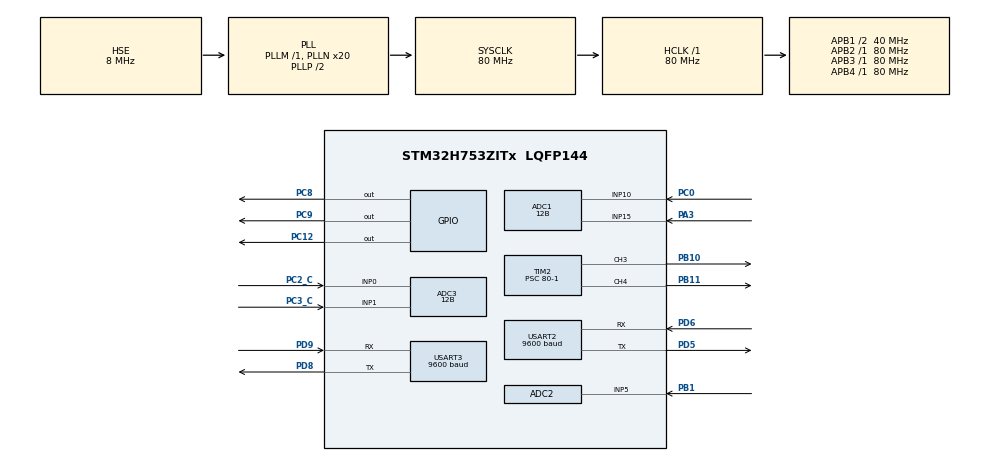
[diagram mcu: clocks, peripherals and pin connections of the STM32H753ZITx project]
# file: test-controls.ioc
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ADC1.Channel-5\#ChannelRegularConversion=ADC_CHANNEL_15
ADC1.Channel-6\#ChannelRegularConversion=ADC_CHANNEL_10
ADC1.DiscontinuousConvMode=ENABLE
ADC1.NbrOfConversion=2
ADC1.NbrOfConversionFlag=1
ADC1.OffsetNumber-5\#ChannelRegularConversion=ADC_OFFSET_NONE
ADC1.OffsetNumber-6\#ChannelRegularConversion=ADC_OFFSET_NONE
ADC1.OffsetSignedSaturation-5\#ChannelRegularConversion=DISABLE
ADC1.Rank-5\#ChannelRegularConversion=1
ADC1.Rank-6\#ChannelRegularConversion=2
ADC1.Resolution=ADC_RESOLUTION_12B
ADC1.SamplingTime-5\#ChannelRegularConversion=ADC_SAMPLETIME_810CYCLES_5
ADC1.SamplingTime-6\#ChannelRegularConversion=ADC_SAMPLETIME_810CYCLES_5
ADC1.master=1
ADC2.Channel-0\#ChannelRegularConversion=ADC_CHANNEL_5
ADC2.NbrOfConversionFlag=1
ADC2.OffsetNumber-0\#ChannelRegularConversion=ADC_OFFSET_NONE
ADC2.OffsetSignedSaturation-0\#ChannelRegularConversion=DISABLE
ADC2.Rank-0\#ChannelRegularConversion=1
ADC2.Resolution=ADC_RESOLUTION_12B
ADC2.SamplingTime-0\#ChannelRegularConversion=ADC_SAMPLETIME_810CYCLES_5
ADC3.Channel-3\#ChannelRegularConversion=ADC_CHANNEL_1
ADC3.Channel-4\#ChannelRegularConversion=ADC_CHANNEL_0
ADC3.DiscontinuousConvMode=ENABLE
ADC3.NbrOfConversion=2
ADC3.NbrOfConversionFlag=1
ADC3.OffsetNumber-3\#ChannelRegularConversion=ADC_OFFSET_NONE
ADC3.OffsetNumber-4\#ChannelRegularConversion=ADC_OFFSET_NONE
ADC3.OffsetSignedSaturation-3\#ChannelRegularConversion=DISABLE
ADC3.Rank-3\#ChannelRegularConversion=1
ADC3.Rank-4\#ChannelRegularConversion=2
ADC3.Resolution=ADC_RESOLUTION_12B
ADC3.SamplingTime-3\#ChannelRegularConversion=ADC_SAMPLETIME_810CYCLES_5
ADC3.SamplingTime-4\#ChannelRegularConversion=ADC_SAMPLETIME_810CYCLES_5
CORTEX_M7.default_mode_Activation=1
Mcu.Family=STM32H7
Mcu.Name=STM32H753ZITx
Mcu.Package=LQFP144
NVIC.PriorityGroup=NVIC_PRIORITYGROUP_4
NVIC.TIM1_CC_IRQn=true\:1\:0\:true\:false\:true\:true\:true\:true
NVIC.TIM1_UP_IRQn=true\:0\:0\:false\:false\:true\:true\:true\:true
NVIC.USART2_IRQn=true\:0\:0\:false\:false\:true\:true\:true\:true
PA3.Signal=ADCx_INP15
PB1.Signal=ADCx_INP5
PB10.Signal=S_TIM2_CH3
PB11.Signal=S_TIM2_CH4
PC0.Signal=ADCx_INP10
PC12.GPIO_ModeDefaultOutputPP=GPIO_MODE_OUTPUT_OD
PC12.GPIO_PuPd=GPIO_NOPULL
PC12.Signal=GPIO_Output
PC2_C.Signal=SharedAnalog_PC2
PC3_C.Mode=IN1-Single-Ended
PC3_C.Signal=ADC3_INP1
PC8.GPIO_ModeDefaultOutputPP=GPIO_MODE_OUTPUT_OD
PC8.GPIO_PuPd=GPIO_NOPULL
PC8.PinState=GPIO_PIN_SET
PC8.Signal=GPIO_Output
PC9.GPIO_ModeDefaultOutputPP=GPIO_MODE_OUTPUT_OD
PC9.GPIO_PuPd=GPIO_NOPULL
PC9.PinState=GPIO_PIN_SET
PC9.Signal=GPIO_Output
PD5.GPIO_PuPd=GPIO_PULLUP
PD5.GPIO_Speed=GPIO_SPEED_FREQ_VERY_HIGH
PD5.Mode=Asynchronous
PD5.Signal=USART2_TX
PD6.GPIO_PuPd=GPIO_PULLUP
PD6.GPIO_Speed=GPIO_SPEED_FREQ_VERY_HIGH
PD6.Mode=Asynchronous
PD6.Signal=USART2_RX
PD8.Mode=Asynchronous
PD8.Signal=USART3_TX
PD9.Mode=Asynchronous
PD9.Signal=USART3_RX
PE11.Signal=S_TIM1_CH2
PE9.Signal=S_TIM1_CH1
PH0-OSC_IN\ (PH0).Mode=HSE-External-Oscillator
PH0-OSC_IN\ (PH0).Signal=RCC_OSC_IN
PH1-OSC_OUT\ (PH1).Mode=HSE-External-Oscillator
PH1-OSC_OUT\ (PH1).Signal=RCC_OSC_OUT
ProjectManager.HeapSize=0x200
ProjectManager.StackSize=0x400
ProjectManager.TargetToolchain=STM32CubeIDE
RCC.ADCFreq_Value=76000000
RCC.APB1Freq_Value=40000000
RCC.APB2Freq_Value=80000000
RCC.APB3Freq_Value=80000000
RCC.APB4Freq_Value=80000000
RCC.CortexFreq_Value=80000000
RCC.D2PPRE1=RCC_APB1_DIV2
RCC.DIVM1=1
RCC.DIVM2=1
RCC.DIVN1=20
RCC.DIVN2=19
RCC.DIVQ2=4
RCC.HCLKFreq_Value=80000000
RCC.HSE_VALUE=8000000
RCC.PLL2FRACN=0
RCC.PLLSourceVirtual=RCC_PLLSOURCE_HSE
RCC.SYSCLKFreq_VALUE=80000000
RCC.SYSCLKSource=RCC_SYSCLKSOURCE_PLLCLK
RCC.Tim1Mul=1
RCC.USBFreq_Value=80000000
SH.ADCx_INP10.0=ADC1_INP10,IN10-Single-Ended
SH.ADCx_INP15.0=ADC1_INP15,IN15-Single-Ended
SH.ADCx_INP5.0=ADC1_INP5
SH.ADCx_INP5.1=ADC2_INP5,IN5-Single-Ended
SH.S_TIM1_CH1.0=TIM1_CH1
SH.S_TIM1_CH2.0=TIM1_CH2
SH.S_TIM2_CH3.0=TIM2_CH3,PWM Generation3 CH3
SH.S_TIM2_CH4.0=TIM2_CH4,PWM Generation4 CH4
SH.SharedAnalog_PC2.0=ADC3_INN1
SH.SharedAnalog_PC2.1=ADC3_INP0,IN0-Single-Ended
TIM1.Period=5000-1
TIM1.Prescaler=32-1
TIM1.TIM_MasterOutputTrigger=TIM_TRGO_UPDATE
TIM2.Channel-PWM\ Generation3\ CH3=TIM_CHANNEL_3
TIM2.Channel-PWM\ Generation4\ CH4=TIM_CHANNEL_4
TIM2.Period=20000-1
TIM2.Prescaler=80-1
USART2.BaudRate=9600
USART2.VirtualMode-Asynchronous=VM_ASYNC
USART3.BaudRate=9600
USART3.VirtualMode-Asynchronous=VM_ASYNC
VP_MEMORYMAP_VS_MEMORYMAP.Mode=CurAppReg
VP_TIM1_VS_ClockSourceINT.Mode=Internal
VP_TIM2_VS_ClockSourceINT.Mode=Internal
board=custom

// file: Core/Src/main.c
/* USER CODE BEGIN Header */
/**
  ******************************************************************************
  * @file           : main.c
  * @brief          : Main program body
  ******************************************************************************
  * @attention
  *
  * Copyright (c) 2026 STMicroelectronics.
  * All rights reserved.
  *
  * This software is licensed under terms that can be found in the LICENSE file
  * in the root directory of this software component.
  * If no LICENSE file comes with this software, it is provided AS-IS.
  *
  ******************************************************************************
  */
/* USER CODE END Header */
#include "main.h"

/* USER CODE BEGIN Includes */
#include <stdio.h>
#include <stdbool.h>

/* USER CODE END Includes */

/* USER CODE BEGIN PD */

typedef struct {
        uint16_t res1;
        uint16_t res2;
        uint16_t res3;
        uint16_t res4;
        uint16_t res5;
    } pt_values;

typedef union {
	pt_values values;
    uint8_t bytes_data[10];
} ADC_res;

ADC_res pressure_transducer_outputs;

uint16_t adc_vals[5];

/* USER CODE END PD */

ADC_HandleTypeDef hadc1;
ADC_HandleTypeDef hadc2;
ADC_HandleTypeDef hadc3;

TIM_HandleTypeDef htim1;
TIM_HandleTypeDef htim2;

UART_HandleTypeDef huart2;
UART_HandleTypeDef huart3;

void SystemClock_Config(void);
void PeriphCommonClock_Config(void);
static void MPU_Config(void);
static void MX_GPIO_Init(void);
static void MX_TIM2_Init(void);
static void MX_USART3_UART_Init(void);
static void MX_TIM1_Init(void);
static void MX_USART2_UART_Init(void);
static void MX_ADC1_Init(void);
static void MX_ADC2_Init(void);
static void MX_ADC3_Init(void);
/* USER CODE BEGIN PFP */
uint16_t ADC_Convert(ADC_HandleTypeDef* adc);
//uint16_t ADC2_Convert_Rank1(void);
//uint16_t ADC2_Convert_Rank2(void);
//uint16_t ADC3_Convert_Rank1(void);
//uint16_t ADC3_Convert_Rank2(void);
/* USER CODE END PFP */

/* USER CODE BEGIN 0 */

#ifdef __GNUC__
#define PUTCHAR_PROTOTYPE int __io_putchar(int ch)
#else
#define PUTCHAR_PROTOTYPE int fputc(int ch, FILE *f)
#endif

PUTCHAR_PROTOTYPE
{
  HAL_UART_Transmit(&huart3, (uint8_t *)&ch, 1, 0xFFFF);
  return ch;
}

// for servo:

void setAngle(uint32_t angle,uint32_t channel) {
    if (angle > 270) angle = 270;
    uint32_t minPulseWidth = 500;
    uint32_t maxPulseWidth = 2500;
    uint32_t pulse = ((angle * (maxPulseWidth - minPulseWidth)) / 270) + minPulseWidth;
    __HAL_TIM_SET_COMPARE(&htim2, channel, pulse);
}

uint8_t input_data;
uint8_t solenoid_state;
uint8_t valve_state = 0x00;
uint8_t sparkplug_state = 0x00;
int num_servos = 2;
//
//
void send_data(uint8_t* buffer, int size){

	uint8_t start_val = 0xaa;
	uint8_t start_val2 = 0xa;

	HAL_UART_Transmit(&huart2, &start_val, 1, HAL_MAX_DELAY);
	HAL_UART_Transmit(&huart2, &start_val2, 1, HAL_MAX_DELAY);

	HAL_UART_Transmit_IT(&huart2, buffer, 10);

}

void get_pressure_data(){

	adc_vals[0] = ADC_Convert(&hadc1); // PA3 - rank 1
	adc_vals[1] = ADC_Convert(&hadc1); // PC0 - rank 2

	adc_vals[2] = ADC_Convert(&hadc3); // PC3 - rank 1
	adc_vals[4] = ADC_Convert(&hadc3); //PC2 - rank 2

	adc_vals[3] = ADC_Convert(&hadc2); // PB1

	HAL_ADC_Stop(&hadc1);

	HAL_ADC_Stop(&hadc2);

	HAL_ADC_Stop(&hadc3);

	//ADC bit resolution - 12 bits

	send_data(adc_vals, 10);
}

void HAL_UART_TxCpltCallback(UART_HandleTypeDef *huart) {
    if (huart->Instance == USART2) {
        get_pressure_data();
    }
}

uint8_t control_solenoids(uint8_t input_data, uint8_t solenoid_state){

	if ((input_data & 0x1) != (solenoid_state & 0x1)){
		if (input_data & 0x1){
			HAL_GPIO_WritePin(GPIOC, GPIO_PIN_8, GPIO_PIN_RESET);
		}
		else{
			HAL_GPIO_WritePin(GPIOC, GPIO_PIN_8, GPIO_PIN_SET);
		}

	}
	if ((input_data & 0x2) != (solenoid_state & 0x2)){
		if (input_data & 0x2){
			HAL_GPIO_WritePin(GPIOC, GPIO_PIN_9, GPIO_PIN_RESET);
		}
		else{
			HAL_GPIO_WritePin(GPIOC, GPIO_PIN_9, GPIO_PIN_SET);
		}
	}
	return input_data;
}

void close_servo(uint8_t servo_num){
	if (servo_num == 0){
		printf("closing servo num 0\n");
		setAngle(0, TIM_CHANNEL_3);
	} else if (servo_num == 1){
		setAngle(0, TIM_CHANNEL_4);
	}

}
void open_servo(uint8_t servo_num){
	if (servo_num == 0){
		printf("opening servo num 0\n");
		setAngle(90, TIM_CHANNEL_3);
	} else if (servo_num == 1){
		setAngle(90, TIM_CHANNEL_4);
	}
}

uint8_t control_ballvalves(uint8_t input_data, uint8_t valve_state){

	for (int i = 0; i < num_servos; i++){
		uint8_t cur_servo_state = (valve_state >> i) & 0x1;
		uint8_t cur_input_state = (input_data >> i) & 0x1;
		if (cur_servo_state != cur_input_state){
			if (cur_servo_state){
				open_servo(i);
			}
			else{
				close_servo(i);
			}
		}
	}
	return input_data;

}

void spark_plug_on(){
	HAL_GPIO_WritePin(GPIOC, GPIO_PIN_12, GPIO_PIN_RESET);
}

void spark_plug_off(){
	HAL_GPIO_WritePin(GPIOC, GPIO_PIN_12, GPIO_PIN_SET); // switched from reset
}

void HAL_UART_RxCpltCallback(UART_HandleTypeDef *huart) {
    if (huart->Instance == USART2) {

    	solenoid_state = control_solenoids(input_data, solenoid_state);
    	uint8_t ball_valve_data = input_data >> 2;
        valve_state = control_ballvalves(ball_valve_data, valve_state);

        if (((input_data >> 4 )& 0x1) && !sparkplug_state){
			sparkplug_state = 0x1;
			spark_plug_on();
        }
        // if the bit is low and spark plug state is high
		else if ((((~input_data >> 4) & 0x1) && sparkplug_state)) {
			sparkplug_state = 0x0;
			spark_plug_off();
        }
        HAL_UART_Receive_IT(huart, &input_data, 1);

    }
}

/* USER CODE END 0 */

int main(void)
{

  /* MPU Configuration--------------------------------------------------------*/
  MPU_Config();

  /* MCU Configuration--------------------------------------------------------*/

  /* Reset of all peripherals, Initializes the Flash interface and the Systick. */
  HAL_Init();

  /* Configure the system clock */
  SystemClock_Config();

  /* Configure the peripherals common clocks */
  PeriphCommonClock_Config();

  /* Initialize all configured peripherals */
  MX_GPIO_Init();
  MX_TIM2_Init();
  MX_USART3_UART_Init();
  MX_TIM1_Init();
  MX_USART2_UART_Init();
  MX_ADC1_Init();
  MX_ADC2_Init();
  MX_ADC3_Init();
  /* USER CODE BEGIN 2 */
  HAL_TIM_PWM_Start(&htim2, TIM_CHANNEL_3);
  HAL_TIM_PWM_Start(&htim2, TIM_CHANNEL_4);

  HAL_UART_Receive_IT(&huart2, &input_data, 1);
  printf("Reached start\n");

  printf("First get pressure data\n");

  // sparkplug gpio starts low
  HAL_GPIO_WritePin(GPIOC, GPIO_PIN_12, GPIO_PIN_SET);

  HAL_ADCEx_Calibration_Start(&hadc1, ADC_CALIB_OFFSET, ADC_SINGLE_ENDED);
  HAL_ADCEx_Calibration_Start(&hadc2, ADC_CALIB_OFFSET, ADC_SINGLE_ENDED);
  HAL_ADCEx_Calibration_Start(&hadc3, ADC_CALIB_OFFSET, ADC_SINGLE_ENDED);

  get_pressure_data();

  /* USER CODE END 2 */

  /* Infinite loop */
  /* USER CODE BEGIN WHILE */
  //uint16_t data[5] = {0,1,2,3,4};
  while (1)
  {
    /* USER CODE END WHILE */

  }
}

void SystemClock_Config(void)
{
  RCC_OscInitTypeDef RCC_OscInitStruct = {0};
  RCC_ClkInitTypeDef RCC_ClkInitStruct = {0};

  /** Supply configuration update enable
  */
  HAL_PWREx_ConfigSupply(PWR_LDO_SUPPLY);

  /** Configure the main internal regulator output voltage
  */
  __HAL_PWR_VOLTAGESCALING_CONFIG(PWR_REGULATOR_VOLTAGE_SCALE3);

  while(!__HAL_PWR_GET_FLAG(PWR_FLAG_VOSRDY)) {}

  /** Initializes the RCC Oscillators according to the specified parameters
  * in the RCC_OscInitTypeDef structure.
  */
  RCC_OscInitStruct.OscillatorType = RCC_OSCILLATORTYPE_HSE;
  RCC_OscInitStruct.HSEState = RCC_HSE_ON;
  RCC_OscInitStruct.PLL.PLLState = RCC_PLL_ON;
  RCC_OscInitStruct.PLL.PLLSource = RCC_PLLSOURCE_HSE;
  RCC_OscInitStruct.PLL.PLLM = 1;
  RCC_OscInitStruct.PLL.PLLN = 20;
  RCC_OscInitStruct.PLL.PLLP = 2;
  RCC_OscInitStruct.PLL.PLLQ = 2;
  RCC_OscInitStruct.PLL.PLLR = 2;
  RCC_OscInitStruct.PLL.PLLRGE = RCC_PLL1VCIRANGE_3;
  RCC_OscInitStruct.PLL.PLLVCOSEL = RCC_PLL1VCOMEDIUM;
  RCC_OscInitStruct.PLL.PLLFRACN = 0;
  if (HAL_RCC_OscConfig(&RCC_OscInitStruct) != HAL_OK)
  {
    Error_Handler();
  }

  /** Initializes the CPU, AHB and APB buses clocks
  */
  RCC_ClkInitStruct.ClockType = RCC_CLOCKTYPE_HCLK|RCC_CLOCKTYPE_SYSCLK
                              |RCC_CLOCKTYPE_PCLK1|RCC_CLOCKTYPE_PCLK2
                              |RCC_CLOCKTYPE_D3PCLK1|RCC_CLOCKTYPE_D1PCLK1;
  RCC_ClkInitStruct.SYSCLKSource = RCC_SYSCLKSOURCE_PLLCLK;
  RCC_ClkInitStruct.SYSCLKDivider = RCC_SYSCLK_DIV1;
  RCC_ClkInitStruct.AHBCLKDivider = RCC_HCLK_DIV1;
  RCC_ClkInitStruct.APB3CLKDivider = RCC_APB3_DIV1;
  RCC_ClkInitStruct.APB1CLKDivider = RCC_APB1_DIV2;
  RCC_ClkInitStruct.APB2CLKDivider = RCC_APB2_DIV1;
  RCC_ClkInitStruct.APB4CLKDivider = RCC_APB4_DIV1;

  if (HAL_RCC_ClockConfig(&RCC_ClkInitStruct, FLASH_LATENCY_1) != HAL_OK)
  {
    Error_Handler();
  }
}

void PeriphCommonClock_Config(void)
{
  RCC_PeriphCLKInitTypeDef PeriphClkInitStruct = {0};

  /** Initializes the peripherals clock
  */
  PeriphClkInitStruct.PeriphClockSelection = RCC_PERIPHCLK_ADC;
  PeriphClkInitStruct.PLL2.PLL2M = 1;
  PeriphClkInitStruct.PLL2.PLL2N = 19;
  PeriphClkInitStruct.PLL2.PLL2P = 2;
  PeriphClkInitStruct.PLL2.PLL2Q = 4;
  PeriphClkInitStruct.PLL2.PLL2R = 2;
  PeriphClkInitStruct.PLL2.PLL2RGE = RCC_PLL2VCIRANGE_3;
  PeriphClkInitStruct.PLL2.PLL2VCOSEL = RCC_PLL2VCOMEDIUM;
  PeriphClkInitStruct.PLL2.PLL2FRACN = 0;
  PeriphClkInitStruct.AdcClockSelection = RCC_ADCCLKSOURCE_PLL2;
  if (HAL_RCCEx_PeriphCLKConfig(&PeriphClkInitStruct) != HAL_OK)
  {
    Error_Handler();
  }
}

static void MX_ADC1_Init(void)
{

  ADC_MultiModeTypeDef multimode = {0};
  ADC_ChannelConfTypeDef sConfig = {0};

  /** Common config
  */
  hadc1.Instance = ADC1;
  hadc1.Init.ClockPrescaler = ADC_CLOCK_ASYNC_DIV2;
  hadc1.Init.Resolution = ADC_RESOLUTION_12B;
  hadc1.Init.ScanConvMode = ADC_SCAN_ENABLE;
  hadc1.Init.EOCSelection = ADC_EOC_SINGLE_CONV;
  hadc1.Init.LowPowerAutoWait = DISABLE;
  hadc1.Init.ContinuousConvMode = DISABLE;
  hadc1.Init.NbrOfConversion = 2;
  hadc1.Init.DiscontinuousConvMode = ENABLE;
  hadc1.Init.NbrOfDiscConversion = 1;
  hadc1.Init.ExternalTrigConv = ADC_SOFTWARE_START;
  hadc1.Init.ExternalTrigConvEdge = ADC_EXTERNALTRIGCONVEDGE_NONE;
  hadc1.Init.ConversionDataManagement = ADC_CONVERSIONDATA_DR;
  hadc1.Init.Overrun = ADC_OVR_DATA_PRESERVED;
  hadc1.Init.LeftBitShift = ADC_LEFTBITSHIFT_NONE;
  hadc1.Init.OversamplingMode = DISABLE;
  hadc1.Init.Oversampling.Ratio = 1;
  if (HAL_ADC_Init(&hadc1) != HAL_OK)
  {
    Error_Handler();
  }

  /** Configure the ADC multi-mode
  */
  multimode.Mode = ADC_MODE_INDEPENDENT;
  if (HAL_ADCEx_MultiModeConfigChannel(&hadc1, &multimode) != HAL_OK)
  {
    Error_Handler();
  }

  /** Configure Regular Channel
  */
  sConfig.Channel = ADC_CHANNEL_15;
  sConfig.Rank = ADC_REGULAR_RANK_1;
  sConfig.SamplingTime = ADC_SAMPLETIME_810CYCLES_5;
  sConfig.SingleDiff = ADC_SINGLE_ENDED;
  sConfig.OffsetNumber = ADC_OFFSET_NONE;
  sConfig.Offset = 0;
  sConfig.OffsetSignedSaturation = DISABLE;
  if (HAL_ADC_ConfigChannel(&hadc1, &sConfig) != HAL_OK)
  {
    Error_Handler();
  }

  /** Configure Regular Channel
  */
  sConfig.Channel = ADC_CHANNEL_10;
  sConfig.Rank = ADC_REGULAR_RANK_2;
  if (HAL_ADC_ConfigChannel(&hadc1, &sConfig) != HAL_OK)
  {
    Error_Handler();
  }

}

static void MX_ADC2_Init(void)
{

  ADC_ChannelConfTypeDef sConfig = {0};

  /** Common config
  */
  hadc2.Instance = ADC2;
  hadc2.Init.ClockPrescaler = ADC_CLOCK_ASYNC_DIV2;
  hadc2.Init.Resolution = ADC_RESOLUTION_12B;
  hadc2.Init.ScanConvMode = ADC_SCAN_DISABLE;
  hadc2.Init.EOCSelection = ADC_EOC_SINGLE_CONV;
  hadc2.Init.LowPowerAutoWait = DISABLE;
  hadc2.Init.ContinuousConvMode = DISABLE;
  hadc2.Init.NbrOfConversion = 1;
  hadc2.Init.DiscontinuousConvMode = DISABLE;
  hadc2.Init.ExternalTrigConv = ADC_SOFTWARE_START;
  hadc2.Init.ExternalTrigConvEdge = ADC_EXTERNALTRIGCONVEDGE_NONE;
  hadc2.Init.ConversionDataManagement = ADC_CONVERSIONDATA_DR;
  hadc2.Init.Overrun = ADC_OVR_DATA_PRESERVED;
  hadc2.Init.LeftBitShift = ADC_LEFTBITSHIFT_NONE;
  hadc2.Init.OversamplingMode = DISABLE;
  hadc2.Init.Oversampling.Ratio = 1;
  if (HAL_ADC_Init(&hadc2) != HAL_OK)
  {
    Error_Handler();
  }

  /** Configure Regular Channel
  */
  sConfig.Channel = ADC_CHANNEL_5;
  sConfig.Rank = ADC_REGULAR_RANK_1;
  sConfig.SamplingTime = ADC_SAMPLETIME_810CYCLES_5;
  sConfig.SingleDiff = ADC_SINGLE_ENDED;
  sConfig.OffsetNumber = ADC_OFFSET_NONE;
  sConfig.Offset = 0;
  sConfig.OffsetSignedSaturation = DISABLE;
  if (HAL_ADC_ConfigChannel(&hadc2, &sConfig) != HAL_OK)
  {
    Error_Handler();
  }

}

static void MX_ADC3_Init(void)
{

  ADC_ChannelConfTypeDef sConfig = {0};

  /** Common config
  */
  hadc3.Instance = ADC3;
  hadc3.Init.ClockPrescaler = ADC_CLOCK_ASYNC_DIV2;
  hadc3.Init.Resolution = ADC_RESOLUTION_12B;
  hadc3.Init.ScanConvMode = ADC_SCAN_ENABLE;
  hadc3.Init.EOCSelection = ADC_EOC_SINGLE_CONV;
  hadc3.Init.LowPowerAutoWait = DISABLE;
  hadc3.Init.ContinuousConvMode = DISABLE;
  hadc3.Init.NbrOfConversion = 2;
  hadc3.Init.DiscontinuousConvMode = ENABLE;
  hadc3.Init.NbrOfDiscConversion = 1;
  hadc3.Init.ExternalTrigConv = ADC_SOFTWARE_START;
  hadc3.Init.ExternalTrigConvEdge = ADC_EXTERNALTRIGCONVEDGE_NONE;
  hadc3.Init.ConversionDataManagement = ADC_CONVERSIONDATA_DR;
  hadc3.Init.Overrun = ADC_OVR_DATA_PRESERVED;
  hadc3.Init.LeftBitShift = ADC_LEFTBITSHIFT_NONE;
  hadc3.Init.OversamplingMode = DISABLE;
  hadc3.Init.Oversampling.Ratio = 1;
  if (HAL_ADC_Init(&hadc3) != HAL_OK)
  {
    Error_Handler();
  }

  /** Configure Regular Channel
  */
  sConfig.Channel = ADC_CHANNEL_1;
  sConfig.Rank = ADC_REGULAR_RANK_1;
  sConfig.SamplingTime = ADC_SAMPLETIME_810CYCLES_5;
  sConfig.SingleDiff = ADC_SINGLE_ENDED;
  sConfig.OffsetNumber = ADC_OFFSET_NONE;
  sConfig.Offset = 0;
  sConfig.OffsetSignedSaturation = DISABLE;
  if (HAL_ADC_ConfigChannel(&hadc3, &sConfig) != HAL_OK)
  {
    Error_Handler();
  }

  /** Configure Regular Channel
  */
  sConfig.Channel = ADC_CHANNEL_0;
  sConfig.Rank = ADC_REGULAR_RANK_2;
  if (HAL_ADC_ConfigChannel(&hadc3, &sConfig) != HAL_OK)
  {
    Error_Handler();
  }

}

static void MX_TIM1_Init(void)
{

  /* USER CODE BEGIN TIM1_Init 0 */
//
  /* USER CODE END TIM1_Init 0 */

  TIM_ClockConfigTypeDef sClockSourceConfig = {0};
  TIM_MasterConfigTypeDef sMasterConfig = {0};

  /* USER CODE BEGIN TIM1_Init 1 */
//
  /* USER CODE END TIM1_Init 1 */
  htim1.Instance = TIM1;
  htim1.Init.Prescaler = 32-1;
  htim1.Init.CounterMode = TIM_COUNTERMODE_UP;
  htim1.Init.Period = 5000-1;
  htim1.Init.ClockDivision = TIM_CLOCKDIVISION_DIV1;
  htim1.Init.RepetitionCounter = 0;
  htim1.Init.AutoReloadPreload = TIM_AUTORELOAD_PRELOAD_DISABLE;
  if (HAL_TIM_Base_Init(&htim1) != HAL_OK)
  {
    Error_Handler();
  }
  sClockSourceConfig.ClockSource = TIM_CLOCKSOURCE_INTERNAL;
  if (HAL_TIM_ConfigClockSource(&htim1, &sClockSourceConfig) != HAL_OK)
  {
    Error_Handler();
  }
  sMasterConfig.MasterOutputTrigger = TIM_TRGO_UPDATE;
  sMasterConfig.MasterOutputTrigger2 = TIM_TRGO2_RESET;
  sMasterConfig.MasterSlaveMode = TIM_MASTERSLAVEMODE_DISABLE;
  if (HAL_TIMEx_MasterConfigSynchronization(&htim1, &sMasterConfig) != HAL_OK)
  {
    Error_Handler();
  }
  /* USER CODE BEGIN TIM1_Init 2 */
//
  /* USER CODE END TIM1_Init 2 */

}

static void MX_TIM2_Init(void)
{

  TIM_ClockConfigTypeDef sClockSourceConfig = {0};
  TIM_MasterConfigTypeDef sMasterConfig = {0};
  TIM_OC_InitTypeDef sConfigOC = {0};

  htim2.Instance = TIM2;
  htim2.Init.Prescaler = 80-1;
  htim2.Init.CounterMode = TIM_COUNTERMODE_UP;
  htim2.Init.Period = 20000-1;
  htim2.Init.ClockDivision = TIM_CLOCKDIVISION_DIV1;
  htim2.Init.AutoReloadPreload = TIM_AUTORELOAD_PRELOAD_DISABLE;
  if (HAL_TIM_Base_Init(&htim2) != HAL_OK)
  {
    Error_Handler();
  }
  sClockSourceConfig.ClockSource = TIM_CLOCKSOURCE_INTERNAL;
  if (HAL_TIM_ConfigClockSource(&htim2, &sClockSourceConfig) != HAL_OK)
  {
    Error_Handler();
  }
  if (HAL_TIM_PWM_Init(&htim2) != HAL_OK)
  {
    Error_Handler();
  }
  sMasterConfig.MasterOutputTrigger = TIM_TRGO_RESET;
  sMasterConfig.MasterSlaveMode = TIM_MASTERSLAVEMODE_DISABLE;
  if (HAL_TIMEx_MasterConfigSynchronization(&htim2, &sMasterConfig) != HAL_OK)
  {
    Error_Handler();
  }
  sConfigOC.OCMode = TIM_OCMODE_PWM1;
  sConfigOC.Pulse = 0;
  sConfigOC.OCPolarity = TIM_OCPOLARITY_HIGH;
  sConfigOC.OCFastMode = TIM_OCFAST_DISABLE;
  if (HAL_TIM_PWM_ConfigChannel(&htim2, &sConfigOC, TIM_CHANNEL_3) != HAL_OK)
  {
    Error_Handler();
  }
  if (HAL_TIM_PWM_ConfigChannel(&htim2, &sConfigOC, TIM_CHANNEL_4) != HAL_OK)
  {
    Error_Handler();
  }
  HAL_TIM_MspPostInit(&htim2);

}

static void MX_USART2_UART_Init(void)
{

  huart2.Instance = USART2;
  huart2.Init.BaudRate = 9600;
  huart2.Init.WordLength = UART_WORDLENGTH_8B;
  huart2.Init.StopBits = UART_STOPBITS_1;
  huart2.Init.Parity = UART_PARITY_NONE;
  huart2.Init.Mode = UART_MODE_TX_RX;
  huart2.Init.HwFlowCtl = UART_HWCONTROL_NONE;
  huart2.Init.OverSampling = UART_OVERSAMPLING_16;
  huart2.Init.OneBitSampling = UART_ONE_BIT_SAMPLE_DISABLE;
  huart2.Init.ClockPrescaler = UART_PRESCALER_DIV1;
  huart2.AdvancedInit.AdvFeatureInit = UART_ADVFEATURE_NO_INIT;
  if (HAL_UART_Init(&huart2) != HAL_OK)
  {
    Error_Handler();
  }
  if (HAL_UARTEx_SetTxFifoThreshold(&huart2, UART_TXFIFO_THRESHOLD_1_8) != HAL_OK)
  {
    Error_Handler();
  }
  if (HAL_UARTEx_SetRxFifoThreshold(&huart2, UART_RXFIFO_THRESHOLD_1_8) != HAL_OK)
  {
    Error_Handler();
  }
  if (HAL_UARTEx_DisableFifoMode(&huart2) != HAL_OK)
  {
    Error_Handler();
  }

}

static void MX_USART3_UART_Init(void)
{

  huart3.Instance = USART3;
  huart3.Init.BaudRate = 9600;
  huart3.Init.WordLength = UART_WORDLENGTH_8B;
  huart3.Init.StopBits = UART_STOPBITS_1;
  huart3.Init.Parity = UART_PARITY_NONE;
  huart3.Init.Mode = UART_MODE_TX_RX;
  huart3.Init.HwFlowCtl = UART_HWCONTROL_NONE;
  huart3.Init.OverSampling = UART_OVERSAMPLING_16;
  huart3.Init.OneBitSampling = UART_ONE_BIT_SAMPLE_DISABLE;
  huart3.Init.ClockPrescaler = UART_PRESCALER_DIV1;
  huart3.AdvancedInit.AdvFeatureInit = UART_ADVFEATURE_NO_INIT;
  if (HAL_UART_Init(&huart3) != HAL_OK)
  {
    Error_Handler();
  }
  if (HAL_UARTEx_SetTxFifoThreshold(&huart3, UART_TXFIFO_THRESHOLD_1_8) != HAL_OK)
  {
    Error_Handler();
  }
  if (HAL_UARTEx_SetRxFifoThreshold(&huart3, UART_RXFIFO_THRESHOLD_1_8) != HAL_OK)
  {
    Error_Handler();
  }
  if (HAL_UARTEx_DisableFifoMode(&huart3) != HAL_OK)
  {
    Error_Handler();
  }

}

static void MX_GPIO_Init(void)
{
  GPIO_InitTypeDef GPIO_InitStruct = {0};

  /* GPIO Ports Clock Enable */
  __HAL_RCC_GPIOH_CLK_ENABLE();
  __HAL_RCC_GPIOC_CLK_ENABLE();
  __HAL_RCC_GPIOA_CLK_ENABLE();
  __HAL_RCC_GPIOB_CLK_ENABLE();
  __HAL_RCC_GPIOE_CLK_ENABLE();
  __HAL_RCC_GPIOD_CLK_ENABLE();

  /*Configure GPIO pin Output Level */
  HAL_GPIO_WritePin(GPIOC, GPIO_PIN_8|GPIO_PIN_9, GPIO_PIN_SET);

  /*Configure GPIO pin Output Level */
  HAL_GPIO_WritePin(GPIOC, GPIO_PIN_12, GPIO_PIN_RESET);

  /*Configure GPIO pins : PC8 PC9 PC12 */
  GPIO_InitStruct.Pin = GPIO_PIN_8|GPIO_PIN_9|GPIO_PIN_12;
  GPIO_InitStruct.Mode = GPIO_MODE_OUTPUT_OD;
  GPIO_InitStruct.Pull = GPIO_NOPULL;
  GPIO_InitStruct.Speed = GPIO_SPEED_FREQ_LOW;
  HAL_GPIO_Init(GPIOC, &GPIO_InitStruct);

}

/* USER CODE BEGIN 4 */
int _write(int fd, char* ptr, int len)
{
  HAL_UART_Transmit(&huart3, (uint8_t*) ptr, len, HAL_MAX_DELAY);
  return len;
}

uint16_t ADC_Convert(ADC_HandleTypeDef* adc)
{
  HAL_ADC_Start(adc);
  HAL_ADC_PollForConversion(adc, HAL_MAX_DELAY);
  uint16_t adcval = HAL_ADC_GetValue(adc);
  return adcval;
}

//uint16_t ADC2_Convert_Rank1(void)
//{
//  /* Configure channel */
//  ADC_ChannelConfTypeDef sConfig = {0};
//  sConfig.Channel = ADC_CHANNEL_5;
//  sConfig.Rank = ADC_REGULAR_RANK_1;
//  sConfig.SamplingTime = ADC_SAMPLETIME_810CYCLES_5;
//  sConfig.SingleDiff = ADC_SINGLE_ENDED;
//  sConfig.OffsetNumber = ADC_OFFSET_NONE;
//  sConfig.Offset = 0;
//  sConfig.OffsetSignedSaturation = DISABLE;
//  if (HAL_ADC_ConfigChannel(&hadc2, &sConfig) != HAL_OK)
//  {
//    Error_Handler();
//  }
//
//  /* Convert the Channel */
//  HAL_ADC_Start(&hadc2);
//  HAL_ADC_PollForConversion(&hadc2, 100);
//  uint16_t adcval = HAL_ADC_GetValue(&hadc2);
//  HAL_ADC_Stop(&hadc2);
//  return adcval;
//}
//
//uint16_t ADC2_Convert_Rank2(void)
//{
//  /* Configure channel */
//  ADC_ChannelConfTypeDef sConfig = {0};
//  sConfig.Channel = ADC_CHANNEL_15;
//  sConfig.Rank = ADC_REGULAR_RANK_1;
//  sConfig.SamplingTime = ADC_SAMPLETIME_810CYCLES_5;
//  sConfig.SingleDiff = ADC_SINGLE_ENDED;
//  sConfig.OffsetNumber = ADC_OFFSET_NONE;
//  sConfig.Offset = 0;
//  sConfig.OffsetSignedSaturation = DISABLE;
//  if (HAL_ADC_ConfigChannel(&hadc2, &sConfig) != HAL_OK)
//  {
//    Error_Handler();
//  }
//
//  /* Convert the Channel */
//  HAL_ADC_Start(&hadc2);
//  HAL_ADC_PollForConversion(&hadc2, 100);
//  uint16_t adcval = HAL_ADC_GetValue(&hadc2);
//  HAL_ADC_Stop(&hadc2);
//  return adcval;
//}
//
//uint16_t ADC3_Convert_Rank1(void)
//{
//  /* Configure channel */
//  ADC_ChannelConfTypeDef sConfig = {0};
//  sConfig.Channel = ADC_CHANNEL_0;
//  sConfig.Rank = ADC_REGULAR_RANK_1;
//  sConfig.SamplingTime = ADC_SAMPLETIME_810CYCLES_5;
//  sConfig.SingleDiff = ADC_SINGLE_ENDED;
//  sConfig.OffsetNumber = ADC_OFFSET_NONE;
//  sConfig.Offset = 0;
//  sConfig.OffsetSignedSaturation = DISABLE;
//  if (HAL_ADC_ConfigChannel(&hadc3, &sConfig) != HAL_OK)
//  {
//    Error_Handler();
//  }
//
//  /* Convert the Channel */
//  HAL_ADC_Start(&hadc3);
//  HAL_ADC_PollForConversion(&hadc3, 100);
//  uint16_t adcval = HAL_ADC_GetValue(&hadc3);
//  HAL_ADC_Stop(&hadc3);
//  return adcval;
//}
//
//uint16_t ADC3_Convert_Rank2(void)
//{
//  /* Configure channel */
//  ADC_ChannelConfTypeDef sConfig = {0};
//  sConfig.Channel = ADC_CHANNEL_1;
//  sConfig.Rank = ADC_REGULAR_RANK_1;
//  sConfig.SamplingTime = ADC_SAMPLETIME_810CYCLES_5;
//  sConfig.SingleDiff = ADC_SINGLE_ENDED;
//  sConfig.OffsetNumber = ADC_OFFSET_NONE;
//  sConfig.Offset = 0;
//  sConfig.OffsetSignedSaturation = DISABLE;
//  if (HAL_ADC_ConfigChannel(&hadc3, &sConfig) != HAL_OK)
//  {
//    Error_Handler();
//  }
//
//  /* Convert the Channel */
//  HAL_ADC_Start(&hadc3);
//  HAL_ADC_PollForConversion(&hadc3, 100);
//  uint16_t adcval = HAL_ADC_GetValue(&hadc3);
//  HAL_ADC_Stop(&hadc3);
//  return adcval;
//}
/* USER CODE END 4 */

 /* MPU Configuration */

void MPU_Config(void)
{
  MPU_Region_InitTypeDef MPU_InitStruct = {0};

  /* Disables the MPU */
  HAL_MPU_Disable();

  /** Initializes and configures the Region and the memory to be protected
  */
  MPU_InitStruct.Enable = MPU_REGION_ENABLE;
  MPU_InitStruct.Number = MPU_REGION_NUMBER0;
  MPU_InitStruct.BaseAddress = 0x0;
  MPU_InitStruct.Size = MPU_REGION_SIZE_4GB;
  MPU_InitStruct.SubRegionDisable = 0x87;
  MPU_InitStruct.TypeExtField = MPU_TEX_LEVEL0;
  MPU_InitStruct.AccessPermission = MPU_REGION_NO_ACCESS;
  MPU_InitStruct.DisableExec = MPU_INSTRUCTION_ACCESS_DISABLE;
  MPU_InitStruct.IsShareable = MPU_ACCESS_SHAREABLE;
  MPU_InitStruct.IsCacheable = MPU_ACCESS_NOT_CACHEABLE;
  MPU_InitStruct.IsBufferable = MPU_ACCESS_NOT_BUFFERABLE;

  HAL_MPU_ConfigRegion(&MPU_InitStruct);
  /* Enables the MPU */
  HAL_MPU_Enable(MPU_PRIVILEGED_DEFAULT);

}

void Error_Handler(void)
{
  __disable_irq();
  while (1)
  {
  }
}
